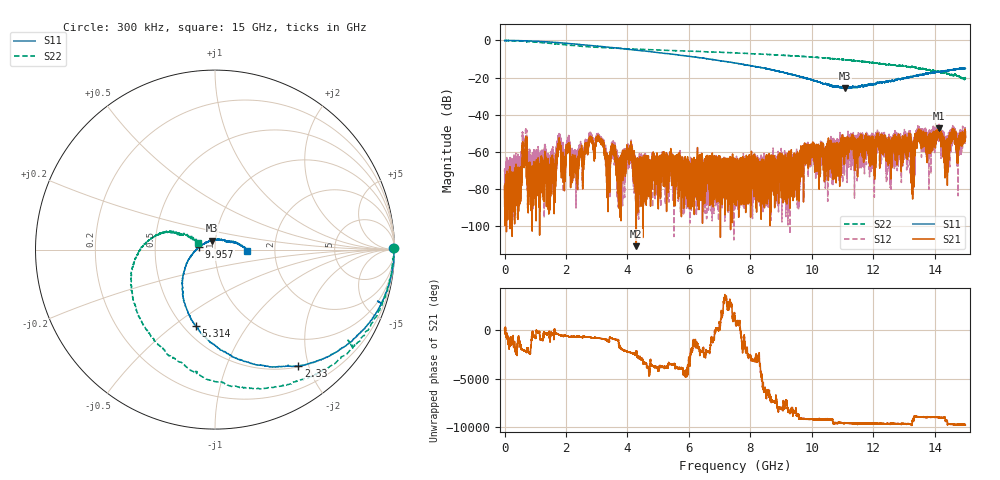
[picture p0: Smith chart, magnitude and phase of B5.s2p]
!Agilent Technologies,N5230C,SG49000117,A.08.50.07
!Agilent N5230C: A.08.50.07
!Date: Monday, December 11, 2023 21:29:53
!Correction: S11(Full 2 Port(1,2))
!S21(Full 2 Port(1,2))
!S12(Full 2 Port(1,2))
!S22(Full 2 Port(1,2))
!S2P File: Measurements: S11, S21, S12, S22:
# Hz S  RI  R 50
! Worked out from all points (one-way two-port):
!   20001 points, 300 kHz to 15 GHz, reference 50 ohm
!   highest |S21| = -47.34 dB at 14.13 GHz (marker M1); lowest = -110.8 dB at 4.286 GHz (marker M2)
!   lowest |S11| = -25.7 dB at 11.09 GHz (marker M3), VSWR 1.11, Z = 48.2 + j4.73 ohm
!   |S11| at or under -10 dB: 6.636796 GHz to 6.637011 GHz (214.8 kHz wide, 0.00324 % of centre); 6.638865 GHz to 6.643383 GHz (4.518 MHz wide, 0.068 % of centre); 6.645 GHz to end of sweep
!   |S22| runs from -21.2 to 0.0 dB; largest |S21 - S12| = 0.0034
!   S11 on the Smith chart (normalised r, x): 300 kHz: open; 2.33 GHz: 0.52, -1.83; 5.314 GHz: 0.57, -0.61; 9.957 GHz: 0.84, +0.03; 15 GHz: 1.43, -0.02
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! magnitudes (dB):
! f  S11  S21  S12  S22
! 300 kHz  -0.1  -79.0  -70.2  0.0
! 458.5 MHz  -0.1  -77.9  -66.1  -0.2
! 648.3 MHz  -0.2  -62.1  -55.3  -0.4
! 910 MHz  -0.3  -76.4  -73.3  -0.7
! 1.634 GHz  -1.0  -75.9  -72.5  -1.8
! 1.767 GHz  -1.2  -56.2  -53.3  -2.0
! 2.33 GHz  -2.0  -64.1  -62.8  -2.8
! 2.501 GHz  -2.3  -60.8  -57.7  -3.1
! 3.062 GHz  -3.1  -52.1  -51.5  -3.7
! 3.362 GHz  -3.6  -75.3  -75.1  -4.0
! 3.532 GHz  -3.9  -57.7  -54.1  -4.2
! 4.286 GHz  -5.3  -110.8  -72.9  -4.7
! 5 GHz  -6.5  -66.1  -79.6  -5.2
! 5.314 GHz  -7.1  -72.6  -65.3  -5.4
! 7.5 GHz  -12.1  -71.6  -73.0  -6.7
! 9.957 GHz  -20.9  -59.3  -60.4  -8.8
! 10 GHz  -21.4  -60.9  -58.8  -8.9
! 11.09 GHz  -25.7  -56.8  -62.0  -10.4
! 12.5 GHz  -22.0  -58.3  -53.0  -13.0
! 14.13 GHz  -16.8  -47.3  -49.1  -16.8
! 14.37 GHz  -16.3  -56.7  -55.2  -17.3
! 15 GHz  -15.0  -51.7  -49.5  -20.1
